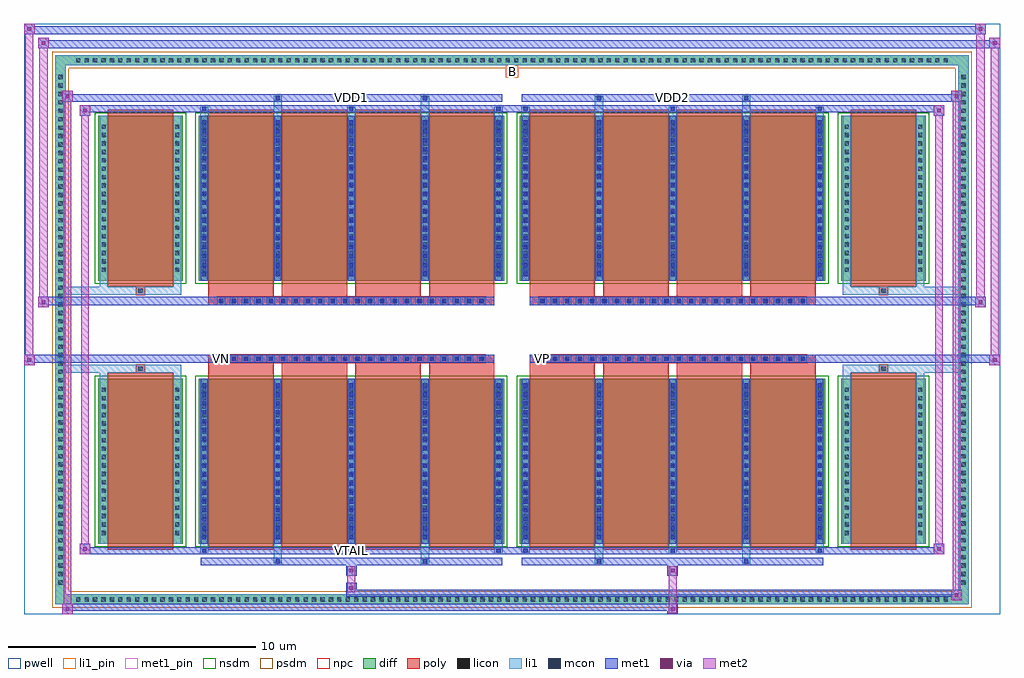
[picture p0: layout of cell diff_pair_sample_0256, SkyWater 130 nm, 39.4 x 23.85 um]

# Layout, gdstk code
import gdstk
lib = gdstk.Library(unit=1e-6, precision=5e-09)
def R(c, l, rs):  # rectangles x0, y0, x1, y1
    for r in rs: c.add(gdstk.rectangle(r[:2], r[2:], *l))
def A(c, l, x, y, w, h, nx, ny, dx, dy):  # array of equal rectangles
    R(c, l, [(x+i*dx, y+j*dy, x+i*dx+w, y+j*dy+h) for i in range(nx) for j in range(ny)])
def P(c, l, *ps):  # polygons
    for p in ps: c.add(gdstk.Polygon(p, *l))
pwell = (64, 44)
diff = (65, 20)
poly = (66, 20)
licon = (66, 44)
li1_pin = (67, 16)
li1 = (67, 20)
mcon = (67, 44)
met1_pin = (68, 16)
met1 = (68, 20)
via = (68, 44)
met2 = (69, 20)
nsdm = (93, 44)
psdm = (94, 20)
npc = (95, 20)

diff_pair_sample_0256 = lib.new_cell('diff_pair_sample_0256')
R(diff_pair_sample_0256, pwell, [(-19.7,-11.49,19.7,12.36), (-17.02,-9.68,-0.01,-0.8), (0.01,-9.68,17.02,-0.8), (-17.02,0.8,-0.01,9.68), (0.01,0.8,17.02,9.68)])
A(diff_pair_sample_0256, diff, -17.715, -11.09, 0.41, 0.41, 104, 2, 0.34, 21.77)
A(diff_pair_sample_0256, diff, -18.43, -10.405, 0.41, 0.41, 1, 61, 0, 0.34)
A(diff_pair_sample_0256, diff, 18.02, -10.405, 0.41, 0.41, 1, 61, 0, 0.34)
R(diff_pair_sample_0256, diff, [(-17.715,-11.09,17.715,-10.68), (-18.43,-10.405,-18.02,10.405), (18.02,-10.405,18.43,10.405), (-16.71,-8.635,-13.29,-1.985), (-12.65,-8.635,-0.32,-1.985), (0.32,-8.635,12.65,-1.985), (13.29,-8.635,16.71,-1.985), (-16.71,1.985,-13.29,8.635), (-12.65,1.985,-0.32,8.635), (0.32,1.985,12.65,8.635), (13.29,1.985,16.71,8.635), (-17.715,10.68,17.715,11.09)])
P(diff_pair_sample_0256, diff, [(18.43,11.09),(-18.43,11.09),(-18.43,-10.68),(-18.02,-10.68),(-18.02,10.68),(18.02,10.68),(18.02,-10.68),(-18.02,-10.68),(-18.43,-10.68),(-18.43,-11.09),(18.43,-11.09)])
A(diff_pair_sample_0256, poly, -12.26, -8.885, 2.64, 7.15, 4, 2, 2.97, 10.62)
A(diff_pair_sample_0256, poly, 0.71, -8.885, 2.64, 7.15, 4, 2, 2.97, 10.62)
A(diff_pair_sample_0256, poly, -12.26, -1.735, 2.64, 0.405, 4, 2, 2.97, 3.065)
A(diff_pair_sample_0256, poly, 0.71, -1.735, 2.64, 0.405, 4, 2, 2.97, 3.065)
A(diff_pair_sample_0256, poly, -11.9, -1.33, 0.33, 0.33, 22, 2, 0.5, 2.33)
A(diff_pair_sample_0256, poly, 1.07, -1.33, 0.33, 0.33, 22, 2, 0.5, 2.33)
R(diff_pair_sample_0256, poly, [(-16.32,-8.885,-13.68,-1.735), (13.68,-8.885,16.32,-1.735), (-15.165,-1.735,-14.835,-1.405), (-15.165,-1.735,-14.835,-1.405), (14.835,-1.735,15.165,-1.405), (14.835,-1.735,15.165,-1.405), (-12.26,-1.33,-0.71,-1), (0.71,-1.33,12.26,-1), (-12.26,1,-0.71,1.33), (0.71,1,12.26,1.33), (-15.165,1.405,-14.835,1.735), (-15.165,1.405,-14.835,1.735), (14.835,1.405,15.165,1.735), (14.835,1.405,15.165,1.735), (-16.32,1.735,-13.68,8.885), (13.68,1.735,16.32,8.885)])
A(diff_pair_sample_0256, licon, -17.595, -10.97, 0.17, 0.17, 104, 2, 0.34, 21.77)
A(diff_pair_sample_0256, licon, -18.31, -10.285, 0.17, 0.17, 1, 61, 0, 0.34)
A(diff_pair_sample_0256, licon, 18.14, -10.285, 0.17, 0.17, 1, 61, 0, 0.34)
A(diff_pair_sample_0256, licon, -16.57, -8.285, 0.17, 0.17, 1, 18, 0, 0.34)
A(diff_pair_sample_0256, licon, -13.6, -8.285, 0.17, 0.17, 1, 18, 0, 0.34)
A(diff_pair_sample_0256, licon, -12.51, -8.285, 0.17, 0.17, 5, 18, 2.97, 0.34)
A(diff_pair_sample_0256, licon, 0.46, -8.285, 0.17, 0.17, 5, 18, 2.97, 0.34)
A(diff_pair_sample_0256, licon, 13.43, -8.285, 0.17, 0.17, 1, 18, 0, 0.34)
A(diff_pair_sample_0256, licon, 16.4, -8.285, 0.17, 0.17, 1, 18, 0, 0.34)
A(diff_pair_sample_0256, licon, -11.82, -1.25, 0.17, 0.17, 22, 2, 0.5, 2.33)
A(diff_pair_sample_0256, licon, 1.15, -1.25, 0.17, 0.17, 22, 2, 0.5, 2.33)
A(diff_pair_sample_0256, licon, -16.57, 2.335, 0.17, 0.17, 1, 18, 0, 0.34)
A(diff_pair_sample_0256, licon, -13.6, 2.335, 0.17, 0.17, 1, 18, 0, 0.34)
A(diff_pair_sample_0256, licon, -12.51, 2.335, 0.17, 0.17, 5, 18, 2.97, 0.34)
A(diff_pair_sample_0256, licon, 0.46, 2.335, 0.17, 0.17, 5, 18, 2.97, 0.34)
A(diff_pair_sample_0256, licon, 13.43, 2.335, 0.17, 0.17, 1, 18, 0, 0.34)
A(diff_pair_sample_0256, licon, 16.4, 2.335, 0.17, 0.17, 1, 18, 0, 0.34)
R(diff_pair_sample_0256, licon, [(-15.085,-1.655,-14.915,-1.485), (14.915,-1.655,15.085,-1.485), (-15.085,1.485,-14.915,1.655), (14.915,1.485,15.085,1.655)])
R(diff_pair_sample_0256, li1_pin, [(-0.25,10.18,0.25,10.68)])
A(diff_pair_sample_0256, li1, -17.675, -11.05, 0.33, 0.33, 104, 2, 0.34, 21.77)
A(diff_pair_sample_0256, li1, -18.39, -10.365, 0.33, 0.33, 1, 61, 0, 0.34)
A(diff_pair_sample_0256, li1, 18.06, -10.365, 0.33, 0.33, 1, 61, 0, 0.34)
A(diff_pair_sample_0256, li1, -12.59, -9.01, 0.33, 0.375, 3, 2, 5.94, 17.645)
A(diff_pair_sample_0256, li1, -12.51, -9.01, 0.17, 0.17, 3, 2, 5.94, 17.85)
A(diff_pair_sample_0256, li1, 0.38, -9.01, 0.33, 0.375, 3, 2, 5.94, 17.645)
A(diff_pair_sample_0256, li1, 0.46, -9.01, 0.17, 0.17, 3, 2, 5.94, 17.85)
A(diff_pair_sample_0256, li1, -12.59, -8.635, 0.33, 6.65, 5, 2, 2.97, 10.62)
A(diff_pair_sample_0256, li1, 0.38, -8.635, 0.33, 6.65, 5, 2, 2.97, 10.62)
A(diff_pair_sample_0256, li1, -12.51, -8.455, 0.17, 0.17, 5, 18, 2.97, 0.36)
A(diff_pair_sample_0256, li1, -12.51, -8.455, 0.17, 6.29, 5, 2, 2.97, 10.62)
A(diff_pair_sample_0256, li1, 0.46, -8.455, 0.17, 0.17, 5, 18, 2.97, 0.36)
A(diff_pair_sample_0256, li1, 0.46, -8.455, 0.17, 6.29, 5, 2, 2.97, 10.62)
A(diff_pair_sample_0256, li1, -16.65, -8.365, 0.33, 0.33, 1, 18, 0, 0.34)
A(diff_pair_sample_0256, li1, -13.68, -8.365, 0.33, 0.33, 1, 18, 0, 0.34)
A(diff_pair_sample_0256, li1, -12.59, -8.365, 0.33, 0.33, 5, 18, 2.97, 0.34)
A(diff_pair_sample_0256, li1, 0.38, -8.365, 0.33, 0.33, 5, 18, 2.97, 0.34)
A(diff_pair_sample_0256, li1, 13.35, -8.365, 0.33, 0.33, 1, 18, 0, 0.34)
A(diff_pair_sample_0256, li1, 16.32, -8.365, 0.33, 0.33, 1, 18, 0, 0.34)
A(diff_pair_sample_0256, li1, -11.9, -1.33, 0.33, 0.33, 22, 2, 0.5, 2.33)
A(diff_pair_sample_0256, li1, 1.07, -1.33, 0.33, 0.33, 22, 2, 0.5, 2.33)
A(diff_pair_sample_0256, li1, -12.51, 2.165, 0.17, 0.17, 5, 18, 2.97, 0.36)
A(diff_pair_sample_0256, li1, 0.46, 2.165, 0.17, 0.17, 5, 18, 2.97, 0.36)
A(diff_pair_sample_0256, li1, -16.65, 2.255, 0.33, 0.33, 1, 18, 0, 0.34)
A(diff_pair_sample_0256, li1, -13.68, 2.255, 0.33, 0.33, 1, 18, 0, 0.34)
A(diff_pair_sample_0256, li1, -12.59, 2.255, 0.33, 0.33, 5, 18, 2.97, 0.34)
A(diff_pair_sample_0256, li1, 0.38, 2.255, 0.33, 0.33, 5, 18, 2.97, 0.34)
A(diff_pair_sample_0256, li1, 13.35, 2.255, 0.33, 0.33, 1, 18, 0, 0.34)
A(diff_pair_sample_0256, li1, 16.32, 2.255, 0.33, 0.33, 1, 18, 0, 0.34)
R(diff_pair_sample_0256, li1, [(-18.43,-11.09,-18.02,-10.68), (-18.43,-11.09,-18.02,-10.68), (-18.02,-11.09,18.02,-10.68), (18.02,-11.09,18.43,-10.68), (18.02,-11.09,18.43,-10.68), (-18.43,-10.68,-18.02,10.68), (18.02,-10.68,18.43,10.68), (-9.62,-9.44,-9.29,-8.635), (-9.54,-9.44,-9.37,-9.27), (-3.68,-9.44,-3.35,-8.635), (-3.6,-9.44,-3.43,-9.27), (3.35,-9.44,3.68,-8.635), (3.43,-9.44,3.6,-9.27), (9.29,-9.44,9.62,-8.635), (9.37,-9.44,9.54,-9.27), (-16.65,-8.635,-16.32,-1.985), (-13.68,-8.635,-13.35,-1.985), (13.35,-8.635,13.68,-1.985), (16.32,-8.635,16.65,-1.985), (-16.65,-1.985,-16.32,-1.405), (-13.68,-1.985,-13.35,-1.405), (13.35,-1.985,13.68,-1.405), (16.32,-1.985,16.65,-1.405), (-18.43,-1.735,-15.165,-1.405), (-16.65,-1.735,-15.165,-1.405), (-15.165,-1.735,-14.835,-1.405), (-14.835,-1.735,-13.35,-1.405), (13.35,-1.735,14.835,-1.405), (14.835,-1.735,15.165,-1.405), (14.835,-1.735,18.43,-1.405), (15.165,-1.735,16.65,-1.405), (-18.43,1.405,-15.165,1.735), (-16.65,1.405,-15.165,1.735), (-16.65,1.405,-16.32,1.985), (-15.165,1.405,-14.835,1.735), (-14.835,1.405,-13.35,1.735), (-13.68,1.405,-13.35,1.985), (13.35,1.405,14.835,1.735), (13.35,1.405,13.68,1.985), (14.835,1.405,15.165,1.735), (14.835,1.405,18.43,1.735), (15.165,1.405,16.65,1.735), (16.32,1.405,16.65,1.985), (-16.65,1.985,-16.32,8.635), (-13.68,1.985,-13.35,8.635), (13.35,1.985,13.68,8.635), (16.32,1.985,16.65,8.635), (-9.62,8.635,-9.29,9.44), (-3.68,8.635,-3.35,9.44), (3.35,8.635,3.68,9.44), (9.29,8.635,9.62,9.44), (-9.54,9.27,-9.37,9.44), (-3.6,9.27,-3.43,9.44), (3.43,9.27,3.6,9.44), (9.37,9.27,9.54,9.44), (-18.43,10.68,-18.02,11.09), (-18.43,10.68,-18.02,11.09), (-18.02,10.68,18.02,11.09), (18.02,10.68,18.43,11.09), (18.02,10.68,18.43,11.09)])
A(diff_pair_sample_0256, mcon, -12.51, -9.01, 0.17, 0.17, 3, 2, 5.94, 17.85)
A(diff_pair_sample_0256, mcon, 0.46, -9.01, 0.17, 0.17, 3, 2, 5.94, 17.85)
A(diff_pair_sample_0256, mcon, -12.51, -8.455, 0.17, 0.17, 5, 18, 2.97, 0.36)
A(diff_pair_sample_0256, mcon, 0.46, -8.455, 0.17, 0.17, 5, 18, 2.97, 0.36)
A(diff_pair_sample_0256, mcon, -11.82, -1.25, 0.17, 0.17, 22, 2, 0.5, 2.33)
A(diff_pair_sample_0256, mcon, 1.15, -1.25, 0.17, 0.17, 22, 2, 0.5, 2.33)
A(diff_pair_sample_0256, mcon, -12.51, 2.165, 0.17, 0.17, 5, 18, 2.97, 0.36)
A(diff_pair_sample_0256, mcon, 0.46, 2.165, 0.17, 0.17, 5, 18, 2.97, 0.36)
R(diff_pair_sample_0256, mcon, [(-9.54,-9.44,-9.37,-9.27), (-3.6,-9.44,-3.43,-9.27), (3.43,-9.44,3.6,-9.27), (9.37,-9.44,9.54,-9.27), (-9.54,9.27,-9.37,9.44), (-3.6,9.27,-3.43,9.44), (3.43,9.27,3.6,9.44), (9.37,9.27,9.54,9.44)])
R(diff_pair_sample_0256, met1_pin, [(-6.62,-9.05,-6.35,-8.78), (-11.87,-1.29,-11.6,-1.02), (1.1,-1.29,1.37,-1.02), (-6.62,9.23,-6.35,9.5), (6.35,9.23,6.62,9.5)])
A(diff_pair_sample_0256, met1, -12.57, -9.07, 0.29, 0.29, 3, 2, 5.94, 17.85)
A(diff_pair_sample_0256, met1, 0.4, -9.07, 0.29, 0.29, 3, 2, 5.94, 17.85)
A(diff_pair_sample_0256, met1, -12.57, -8.635, 0.29, 6.65, 5, 2, 2.97, 10.62)
A(diff_pair_sample_0256, met1, 0.4, -8.635, 0.29, 6.65, 5, 2, 2.97, 10.62)
A(diff_pair_sample_0256, met1, -12.57, -8.515, 0.29, 0.29, 5, 18, 2.97, 0.36)
A(diff_pair_sample_0256, met1, 0.4, -8.515, 0.29, 0.29, 5, 18, 2.97, 0.36)
A(diff_pair_sample_0256, met1, -11.88, -1.31, 0.29, 0.29, 22, 2, 0.5, 2.33)
A(diff_pair_sample_0256, met1, 1.09, -1.31, 0.29, 0.29, 22, 2, 0.5, 2.33)
A(diff_pair_sample_0256, met1, -12.57, 2.105, 0.29, 0.29, 5, 18, 2.97, 0.36)
A(diff_pair_sample_0256, met1, 0.4, 2.105, 0.29, 0.29, 5, 18, 2.97, 0.36)
R(diff_pair_sample_0256, met1, [(-18.16,-11.49,-17.73,-11.06), (6.27,-11.49,6.7,-11.06), (-18.16,-11.35,6.7,-11.06), (17.73,-10.92,18.16,-10.49), (-6.7,-10.78,18.16,-10.49), (-6.7,-10.64,-6.27,-10.21), (-6.7,-9.93,-6.27,-9.5), (6.27,-9.93,6.7,-9.5), (-12.57,-9.5,-0.4,-9.21), (-9.6,-9.5,-9.31,-9.21), (-3.66,-9.5,-3.37,-9.21), (0.4,-9.5,12.57,-9.21), (3.37,-9.5,3.66,-9.21), (9.31,-9.5,9.6,-9.21), (-17.45,-9.07,-17.02,-8.64), (-17.45,-9.07,-12.57,-8.78), (-12.57,-9.07,-0.4,-8.78), (-0.4,-9.07,0.4,-8.78), (0.4,-9.07,12.57,-8.78), (12.57,-9.07,17.45,-8.78), (17.02,-9.07,17.45,-8.64), (-19.7,-1.43,-19.27,-1), (19.27,-1.43,19.7,-1), (-19.7,-1.33,-0.71,-1), (-12.26,-1.33,-0.71,-1), (0.71,-1.33,12.26,-1), (0.71,-1.33,19.7,-1), (-19.13,0.9,-18.7,1.33), (18.7,0.9,19.13,1.33), (-19.13,1,-12.26,1.33), (-12.26,1,-0.71,1.33), (0.71,1,12.26,1.33), (12.26,1,19.13,1.33), (-17.45,8.64,-17.02,9.07), (17.02,8.64,17.45,9.07), (-17.45,8.78,-12.57,9.07), (-12.57,8.78,-0.4,9.07), (-0.4,8.78,0.4,9.07), (0.4,8.78,12.57,9.07), (12.57,8.78,17.45,9.07), (-18.16,9.21,-17.73,9.64), (-18.16,9.21,-12.57,9.5), (-12.57,9.21,-0.4,9.5), (-9.6,9.21,-9.31,9.5), (-3.66,9.21,-3.37,9.5), (0.4,9.21,12.57,9.5), (3.37,9.21,3.66,9.5), (9.31,9.21,9.6,9.5), (12.57,9.21,18.16,9.5), (17.73,9.21,18.16,9.64), (-19.13,11.36,-18.7,11.79), (-19.13,11.36,-17.02,11.69), (-17.02,11.36,17.02,11.69), (17.02,11.36,19.7,11.69), (19.27,11.36,19.7,11.79), (-19.7,11.93,-19.27,12.36), (-19.7,11.93,-17.02,12.26), (-17.02,11.93,17.02,12.26), (17.02,11.93,19.13,12.26), (18.7,11.93,19.13,12.36)])
R(diff_pair_sample_0256, via, [(-18.02,-11.35,-17.87,-11.2), (6.41,-11.35,6.56,-11.2), (17.87,-10.78,18.02,-10.63), (-6.56,-10.5,-6.41,-10.35), (-6.56,-9.79,-6.41,-9.64), (6.41,-9.79,6.56,-9.64), (-17.31,-8.93,-17.16,-8.78), (17.16,-8.93,17.31,-8.78), (-19.56,-1.29,-19.41,-1.14), (19.41,-1.29,19.56,-1.14), (-18.99,1.04,-18.84,1.19), (18.84,1.04,18.99,1.19), (-17.31,8.78,-17.16,8.93), (17.16,8.78,17.31,8.93), (-18.02,9.35,-17.87,9.5), (17.87,9.35,18.02,9.5), (-18.99,11.5,-18.84,11.65), (19.41,11.5,19.56,11.65), (-19.56,12.07,-19.41,12.22), (18.84,12.07,18.99,12.22)])
R(diff_pair_sample_0256, met2, [(-18.16,-11.49,-17.73,-11.06), (-18.09,-11.49,-17.8,9.64), (-17.8,-11.49,-17.73,-11.06), (-18.11,-11.44,-17.78,-11.11), (6.32,-11.44,6.65,-11.11), (6.32,-11.11,6.65,-9.88), (17.73,-10.92,18.16,-10.49), (17.8,-10.92,18.09,9.64), (18.09,-10.92,18.16,-10.49), (17.78,-10.87,18.11,-10.54), (-6.65,-10.59,-6.32,-10.26), (-6.65,-10.26,-6.32,-9.88), (-6.65,-9.88,-6.32,-9.55), (6.32,-9.88,6.65,-9.55), (-17.45,-9.07,-17.02,-8.64), (-17.38,-9.07,-17.09,9.07), (-17.09,-9.07,-17.02,-8.64), (17.02,-9.07,17.45,-8.64), (17.09,-9.07,17.38,9.07), (17.38,-9.07,17.45,-8.64), (-17.4,-9.02,-17.07,-8.69), (17.07,-9.02,17.4,-8.69), (-19.7,-1.43,-19.27,-1), (-19.65,-1.43,-19.32,12.36), (-19.32,-1.43,-19.27,-1), (19.27,-1.43,19.7,-1), (19.32,-1.43,19.65,11.79), (19.65,-1.43,19.7,-1), (-19.65,-1.38,-19.32,-1.05), (19.32,-1.38,19.65,-1.05), (-19.13,0.9,-18.7,1.33), (-19.08,0.9,-18.75,11.79), (-18.75,0.9,-18.7,1.33), (18.7,0.9,19.13,1.33), (18.75,0.9,19.08,12.36), (19.08,0.9,19.13,1.33), (-19.08,0.95,-18.75,1.28), (18.75,0.95,19.08,1.28), (-17.45,8.64,-17.02,9.07), (-17.09,8.64,-17.02,9.07), (17.02,8.64,17.45,9.07), (17.38,8.64,17.45,9.07), (-17.4,8.69,-17.07,9.02), (17.07,8.69,17.4,9.02), (-18.16,9.21,-17.73,9.64), (-17.8,9.21,-17.73,9.64), (17.73,9.21,18.16,9.64), (18.09,9.21,18.16,9.64), (-18.11,9.26,-17.78,9.59), (17.78,9.26,18.11,9.59), (-19.13,11.36,-18.7,11.79), (-18.75,11.36,-18.7,11.79), (19.27,11.36,19.7,11.79), (19.65,11.36,19.7,11.79), (-19.08,11.41,-18.75,11.74), (19.32,11.41,19.65,11.74), (-19.7,11.93,-19.27,12.36), (-19.32,11.93,-19.27,12.36), (18.7,11.93,19.13,12.36), (19.08,11.93,19.13,12.36), (-19.65,11.98,-19.32,12.31), (18.75,11.98,19.08,12.31)])
R(diff_pair_sample_0256, nsdm, [(-16.84,-8.765,-13.16,-1.855), (-12.78,-8.765,-0.19,-1.855), (0.19,-8.765,12.78,-1.855), (13.16,-8.765,16.84,-1.855), (-16.84,1.855,-13.16,8.765), (-12.78,1.855,-0.19,8.765), (0.19,1.855,12.78,8.765), (13.16,1.855,16.84,8.765)])
P(diff_pair_sample_0256, psdm, [(18.56,11.22),(-18.56,11.22),(-18.56,-10.55),(-17.89,-10.55),(-17.89,10.55),(17.89,10.55),(17.89,-10.55),(-17.89,-10.55),(-18.56,-10.55),(-18.56,-11.22),(18.56,-11.22)])
A(diff_pair_sample_0256, npc, -11.92, -1.35, 0.37, 0.37, 22, 2, 0.5, 2.33)
A(diff_pair_sample_0256, npc, 1.05, -1.35, 0.37, 0.37, 22, 2, 0.5, 2.33)
R(diff_pair_sample_0256, npc, [(-15.185,-1.755,-14.815,-1.385), (14.815,-1.755,15.185,-1.385), (-11.92,-1.35,-11.05,-0.98), (-11.92,-1.35,-11.05,-0.98), (-11.42,-1.35,-10.55,-0.98), (-11.42,-1.35,-10.55,-0.98), (-10.92,-1.35,-10.05,-0.98), (-10.92,-1.35,-10.05,-0.98), (-10.42,-1.35,-9.55,-0.98), (-10.42,-1.35,-9.55,-0.98), (-9.92,-1.35,-9.05,-0.98), (-9.92,-1.35,-9.05,-0.98), (-9.42,-1.35,-8.55,-0.98), (-9.42,-1.35,-8.55,-0.98), (-8.92,-1.35,-8.05,-0.98), (-8.92,-1.35,-8.05,-0.98), (-8.42,-1.35,-7.55,-0.98), (-8.42,-1.35,-7.55,-0.98), (-7.92,-1.35,-7.05,-0.98), (-7.92,-1.35,-7.05,-0.98), (-7.42,-1.35,-6.55,-0.98), (-7.42,-1.35,-6.55,-0.98), (-6.92,-1.35,-6.05,-0.98), (-6.92,-1.35,-6.05,-0.98), (-6.42,-1.35,-5.55,-0.98), (-6.42,-1.35,-5.55,-0.98), (-5.92,-1.35,-5.05,-0.98), (-5.92,-1.35,-5.05,-0.98), (-5.42,-1.35,-4.55,-0.98), (-5.42,-1.35,-4.55,-0.98), (-4.92,-1.35,-4.05,-0.98), (-4.92,-1.35,-4.05,-0.98), (-4.42,-1.35,-3.55,-0.98), (-4.42,-1.35,-3.55,-0.98), (-3.92,-1.35,-3.05,-0.98), (-3.92,-1.35,-3.05,-0.98), (-3.42,-1.35,-2.55,-0.98), (-3.42,-1.35,-2.55,-0.98), (-2.92,-1.35,-2.05,-0.98), (-2.92,-1.35,-2.05,-0.98), (-2.42,-1.35,-1.55,-0.98), (-2.42,-1.35,-1.55,-0.98), (-1.92,-1.35,-1.05,-0.98), (-1.92,-1.35,-1.05,-0.98), (1.05,-1.35,1.92,-0.98), (1.05,-1.35,1.92,-0.98), (1.55,-1.35,2.42,-0.98), (1.55,-1.35,2.42,-0.98), (2.05,-1.35,2.92,-0.98), (2.05,-1.35,2.92,-0.98), (2.55,-1.35,3.42,-0.98), (2.55,-1.35,3.42,-0.98), (3.05,-1.35,3.92,-0.98), (3.05,-1.35,3.92,-0.98), (3.55,-1.35,4.42,-0.98), (3.55,-1.35,4.42,-0.98), (4.05,-1.35,4.92,-0.98), (4.05,-1.35,4.92,-0.98), (4.55,-1.35,5.42,-0.98), (4.55,-1.35,5.42,-0.98), (5.05,-1.35,5.92,-0.98), (5.05,-1.35,5.92,-0.98), (5.55,-1.35,6.42,-0.98), (5.55,-1.35,6.42,-0.98), (6.05,-1.35,6.92,-0.98), (6.05,-1.35,6.92,-0.98), (6.55,-1.35,7.42,-0.98), (6.55,-1.35,7.42,-0.98), (7.05,-1.35,7.92,-0.98), (7.05,-1.35,7.92,-0.98), (7.55,-1.35,8.42,-0.98), (7.55,-1.35,8.42,-0.98), (8.05,-1.35,8.92,-0.98), (8.05,-1.35,8.92,-0.98), (8.55,-1.35,9.42,-0.98), (8.55,-1.35,9.42,-0.98), (9.05,-1.35,9.92,-0.98), (9.05,-1.35,9.92,-0.98), (9.55,-1.35,10.42,-0.98), (9.55,-1.35,10.42,-0.98), (10.05,-1.35,10.92,-0.98), (10.05,-1.35,10.92,-0.98), (10.55,-1.35,11.42,-0.98), (10.55,-1.35,11.42,-0.98), (11.05,-1.35,11.92,-0.98), (11.05,-1.35,11.92,-0.98), (-11.92,0.98,-11.05,1.35), (-11.92,0.98,-11.05,1.35), (-11.42,0.98,-10.55,1.35), (-11.42,0.98,-10.55,1.35), (-10.92,0.98,-10.05,1.35), (-10.92,0.98,-10.05,1.35), (-10.42,0.98,-9.55,1.35), (-10.42,0.98,-9.55,1.35), (-9.92,0.98,-9.05,1.35), (-9.92,0.98,-9.05,1.35), (-9.42,0.98,-8.55,1.35), (-9.42,0.98,-8.55,1.35), (-8.92,0.98,-8.05,1.35), (-8.92,0.98,-8.05,1.35), (-8.42,0.98,-7.55,1.35), (-8.42,0.98,-7.55,1.35), (-7.92,0.98,-7.05,1.35), (-7.92,0.98,-7.05,1.35), (-7.42,0.98,-6.55,1.35), (-7.42,0.98,-6.55,1.35), (-6.92,0.98,-6.05,1.35), (-6.92,0.98,-6.05,1.35), (-6.42,0.98,-5.55,1.35), (-6.42,0.98,-5.55,1.35), (-5.92,0.98,-5.05,1.35), (-5.92,0.98,-5.05,1.35), (-5.42,0.98,-4.55,1.35), (-5.42,0.98,-4.55,1.35), (-4.92,0.98,-4.05,1.35), (-4.92,0.98,-4.05,1.35), (-4.42,0.98,-3.55,1.35), (-4.42,0.98,-3.55,1.35), (-3.92,0.98,-3.05,1.35), (-3.92,0.98,-3.05,1.35), (-3.42,0.98,-2.55,1.35), (-3.42,0.98,-2.55,1.35), (-2.92,0.98,-2.05,1.35), (-2.92,0.98,-2.05,1.35), (-2.42,0.98,-1.55,1.35), (-2.42,0.98,-1.55,1.35), (-1.92,0.98,-1.05,1.35), (-1.92,0.98,-1.05,1.35), (1.05,0.98,1.92,1.35), (1.05,0.98,1.92,1.35), (1.55,0.98,2.42,1.35), (1.55,0.98,2.42,1.35), (2.05,0.98,2.92,1.35), (2.05,0.98,2.92,1.35), (2.55,0.98,3.42,1.35), (2.55,0.98,3.42,1.35), (3.05,0.98,3.92,1.35), (3.05,0.98,3.92,1.35), (3.55,0.98,4.42,1.35), (3.55,0.98,4.42,1.35), (4.05,0.98,4.92,1.35), (4.05,0.98,4.92,1.35), (4.55,0.98,5.42,1.35), (4.55,0.98,5.42,1.35), (5.05,0.98,5.92,1.35), (5.05,0.98,5.92,1.35), (5.55,0.98,6.42,1.35), (5.55,0.98,6.42,1.35), (6.05,0.98,6.92,1.35), (6.05,0.98,6.92,1.35), (6.55,0.98,7.42,1.35), (6.55,0.98,7.42,1.35), (7.05,0.98,7.92,1.35), (7.05,0.98,7.92,1.35), (7.55,0.98,8.42,1.35), (7.55,0.98,8.42,1.35), (8.05,0.98,8.92,1.35), (8.05,0.98,8.92,1.35), (8.55,0.98,9.42,1.35), (8.55,0.98,9.42,1.35), (9.05,0.98,9.92,1.35), (9.05,0.98,9.92,1.35), (9.55,0.98,10.42,1.35), (9.55,0.98,10.42,1.35), (10.05,0.98,10.92,1.35), (10.05,0.98,10.92,1.35), (10.55,0.98,11.42,1.35), (10.55,0.98,11.42,1.35), (11.05,0.98,11.92,1.35), (11.05,0.98,11.92,1.35), (-15.185,1.385,-14.815,1.755), (14.815,1.385,15.185,1.755)])
diff_pair_sample_0256.add(gdstk.Label('VTAIL', (-6.485,-8.915), layer=68, texttype=5))
diff_pair_sample_0256.add(gdstk.Label('VN', (-11.735,-1.155), layer=68, texttype=5))
diff_pair_sample_0256.add(gdstk.Label('VP', (1.235,-1.155), layer=68, texttype=5))
diff_pair_sample_0256.add(gdstk.Label('B', (0,10.43), layer=67, texttype=5))
diff_pair_sample_0256.add(gdstk.Label('VDD2', (6.485,9.365), layer=68, texttype=5))
diff_pair_sample_0256.add(gdstk.Label('VDD1', (-6.485,9.365), layer=68, texttype=5))

lib.write_gds('diff_pair_sample_0256.gds')
